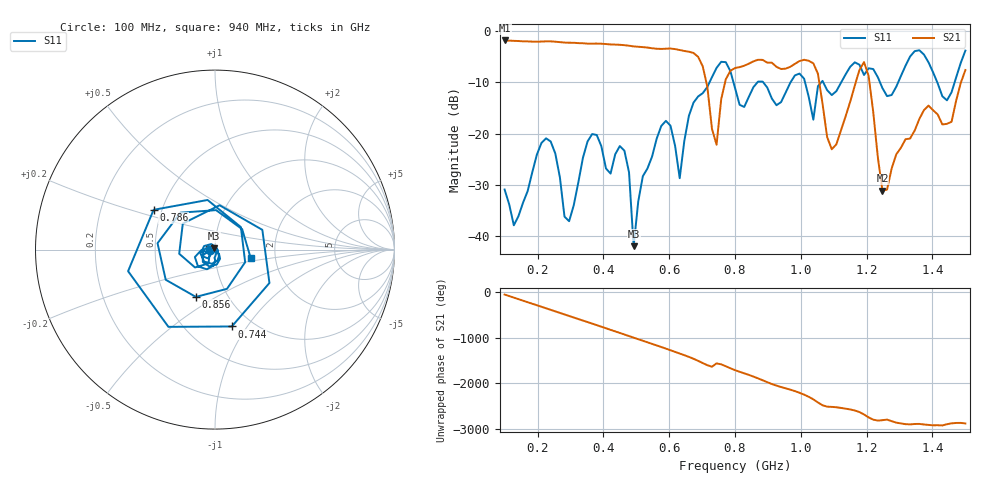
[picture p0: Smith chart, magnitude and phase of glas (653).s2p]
! NanoVNA-App
! Date: 2025-09-25 16:00:33
! Start: 100MHz Stop: 1,5GHz Points: 101
! S-Parameter data: F S11 S21 S12 S22
# Hz S RI R 50
!  Frequency  S11_Real  S11_Imag  S21_Real  S21_Imag  S12_Real  S12_Imag  S22_Real  S22_Imag
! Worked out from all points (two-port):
!   101 points, 100 MHz to 1.5 GHz, reference 50 ohm
!   highest |S21| = -1.80 dB at 100 MHz (marker M1); lowest = -31.1 dB at 1.248 GHz (marker M2)
!   |S21| within 3 dB of the highest: start of sweep to 684.4 MHz
!   lowest |S11| = -42.0 dB at 492 MHz (marker M3), VSWR 1.02, Z = 49.5 + j0.616 ohm
!   |S11| at or under -10 dB: start of sweep to 722.5 MHz; 795.4 MHz to 868 MHz (72.57 MHz wide, 8.73 % of centre); 885.9 MHz to 968.6 MHz (82.67 MHz wide, 8.92 % of centre) (the widest 3 of 7)
!   S12 and S22 are empty: the file has one direction only
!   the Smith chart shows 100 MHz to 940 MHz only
!   S11 on the Smith chart (normalised r, x): 100 MHz: 0.94, -0.01; 744 MHz: 0.80, -0.85; 786 MHz: 0.45, +0.24; 856 MHz: 0.71, -0.41; 940 MHz: 1.49, -0.14
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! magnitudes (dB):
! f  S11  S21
! 100 MHz  -30.9  -1.8
! 128 MHz  -37.9  -1.9
! 226 MHz  -20.9  -2.0
! 296 MHz  -37.1  -2.2
! 338 MHz  -24.7  -2.3
! 464 MHz  -23.3  -2.7
! 492 MHz  -42.0  -3.0
! 576 MHz  -18.5  -3.5
! 632 MHz  -28.7  -3.7
! 702 MHz  -12.1  -6.9
! 744 MHz  -7.2  -22.2
! 786 MHz  -7.8  -7.7
! 800 MHz  -11.1  -7.2
! 856 MHz  -10.9  -5.9
! 940 MHz  -13.8  -7.4
! 1.038 GHz  -17.3  -6.3
! 1.094 GHz  -12.5  -23.1
! 1.192 GHz  -8.5  -6.0
! 1.248 GHz  -11.1  -31.1
! 1.276 GHz  -12.5  -26.8
! 1.444 GHz  -13.5  -18.1
! 1.5 GHz  -3.8  -7.6
